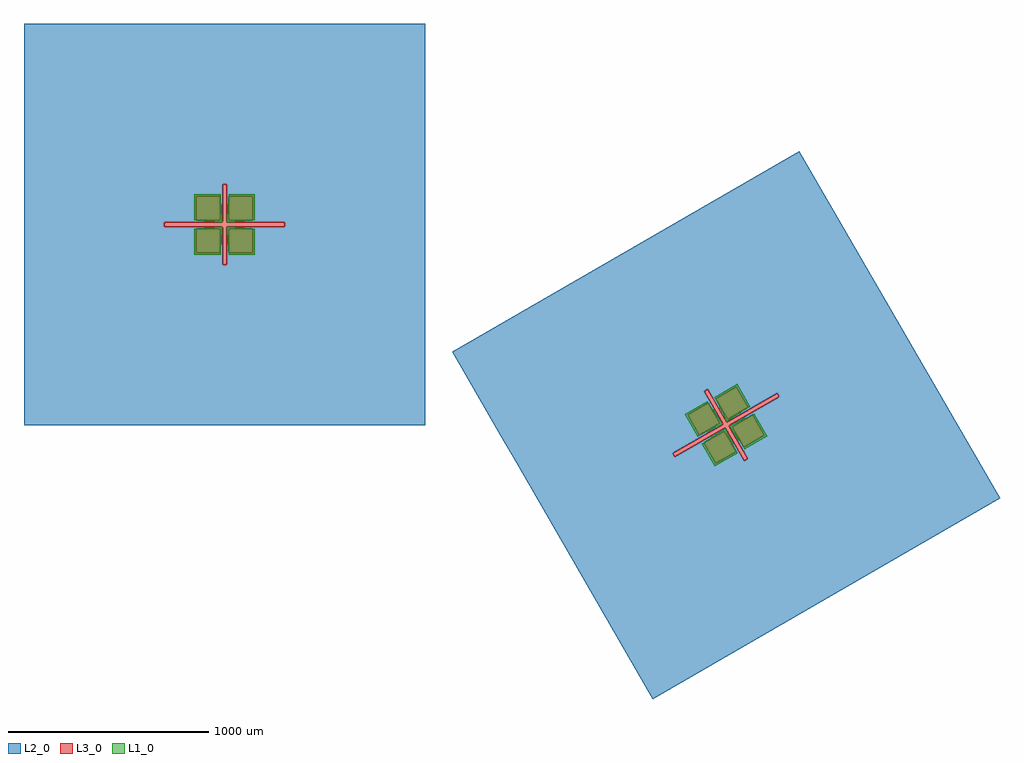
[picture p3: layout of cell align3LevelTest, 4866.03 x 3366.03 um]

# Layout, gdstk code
import gdstk
lib = gdstk.Library(unit=1e-6, precision=1e-09)
def R(c, l, rs):  # rectangles x0, y0, x1, y1
    for r in rs: c.add(gdstk.rectangle(r[:2], r[2:], *l))
def P(c, l, *ps):  # polygons
    for p in ps: c.add(gdstk.Polygon(p, *l))
L1_0 = (1, 0)
L2_0 = (2, 0)
L3_0 = (3, 0)

align3leveltest = lib.new_cell('align3LevelTest')
P(align3leveltest, L1_0, [(-150,-150),(-150,-20),(-100,-20),(-100,-15),(-50,-15),(-50,-12),(-12,-12),(-12,-50),(-15,-50),(-15,-100),(-20,-100),(-20,-150)],
  [(20,-150),(20,-100),(15,-100),(15,-50),(12,-50),(12,-12),(50,-12),(50,-15),(100,-15),(100,-20),(150,-20),(150,-150)],
  [(-50,12),(-50,15),(-100,15),(-100,20),(-150,20),(-150,150),(-20,150),(-20,100),(-15,100),(-15,50),(-12,50),(-12,12)],
  [(12,12),(12,50),(15,50),(15,100),(20,100),(20,150),(150,150),(150,20),(100,20),(100,15),(50,15),(50,12)],
  [(2445.096,-1204.904),(2380.096,-1092.321),(2423.397,-1067.321),(2420.897,-1062.99),(2464.199,-1037.99),(2462.699,-1035.392),(2495.608,-1016.392),(2514.608,-1049.301),(2512.01,-1050.801),(2537.01,-1094.103),(2532.679,-1096.603),(2557.679,-1139.904)],
  [(2592.321,-1119.904),(2567.321,-1076.603),(2562.99,-1079.103),(2537.99,-1035.801),(2535.392,-1037.301),(2516.392,-1004.392),(2549.301,-985.392),(2550.801,-987.99),(2594.103,-962.99),(2596.603,-967.32),(2639.904,-942.32),(2704.904,-1054.904)],
  [(2360.096,-1057.679),(2295.096,-945.096),(2407.679,-880.096),(2432.679,-923.397),(2437.01,-920.897),(2462.01,-964.199),(2464.608,-962.699),(2483.608,-995.608),(2450.699,-1014.608),(2449.199,-1012.01),(2405.897,-1037.01),(2403.397,-1032.679)],
  [(2504.392,-983.608),(2485.392,-950.699),(2487.99,-949.199),(2462.99,-905.897),(2467.321,-903.397),(2442.321,-860.096),(2554.904,-795.096),(2619.904,-907.68),(2576.603,-932.68),(2579.103,-937.01),(2535.801,-962.01),(2537.301,-964.608)])
P(align3leveltest, L2_0, [(-1000,-1000),(-1000,-200),(10,-200),(10,-140),(140,-140),(140,-22),(22,-22),(22,-140),(10,-140),(10,-10),(300,-10),(300,10),(10,10),(10,22),(140,22),(140,140),(22,140),(22,22),(10,22),(10,200),(-10,200),(-10,10),(-300,10),(-300,-10),(-10,-10),(-10,-200),(-1000,-200),(-1000,-140),(-22,-140),(-22,-22),(-140,-22),(-140,-140),(-1000,-140),(-1000,22),(-22,22),(-22,140),(-140,140),(-140,22),(-1000,22),(-1000,1000),(1000,1000),(1000,-1000)],
  [(2133.975,-2366.025),(1455.714,-1191.244),(2448.756,-1191.244),(2471.34,-1178.205),(2591.34,-1178.205),(2608.66,-1168.205),(2575.196,-1110.244),(2589.052,-1110.244),(2691.244,-1051.244),(2632.244,-949.053),(2530.052,-1008.053),(2589.052,-1110.244),(2575.196,-1110.244),(2513.66,-1003.66),(2764.808,-858.66),(2754.808,-841.34),(2503.66,-986.34),(2494.196,-969.947),(2508.052,-969.947),(2610.244,-910.947),(2551.244,-808.756),(2449.052,-867.756),(2508.052,-969.947),(2494.196,-969.947),(2408.66,-821.795),(2391.34,-831.795),(2486.34,-996.34),(2235.192,-1141.34),(2245.192,-1158.66),(2496.34,-1013.66),(2591.34,-1178.205),(2471.34,-1178.205),(2550.948,-1132.244),(2491.948,-1030.053),(2389.756,-1089.053),(2448.756,-1191.244),(1455.714,-1191.244),(1374.714,-1050.947),(2367.756,-1050.947),(2469.948,-991.947),(2410.948,-889.756),(2308.756,-948.756),(2367.756,-1050.947),(1374.714,-1050.947),(1133.975,-633.975),(2866.025,366.025),(3866.025,-1366.025)])
R(align3leveltest, L3_0, [(-140,-140,-22,-22), (22,-140,140,-22), (-140,22,-22,140), (22,22,140,140)])
P(align3leveltest, L3_0, [(-10,-200),(-10,-10),(-300,-10),(-300,10),(-10,10),(-10,200),(10,200),(10,10),(300,10),(300,-10),(10,-10),(10,-200)],
  [(2448.756,-1191.244),(2389.756,-1089.053),(2491.948,-1030.053),(2550.948,-1132.244)],
  [(2589.052,-1110.244),(2530.052,-1008.053),(2632.244,-949.053),(2691.244,-1051.244)],
  [(2367.756,-1050.947),(2308.756,-948.756),(2410.948,-889.756),(2469.948,-991.947)],
  [(2591.34,-1178.205),(2496.34,-1013.66),(2245.192,-1158.66),(2235.192,-1141.34),(2486.34,-996.34),(2391.34,-831.795),(2408.66,-821.795),(2503.66,-986.34),(2754.808,-841.34),(2764.808,-858.66),(2513.66,-1003.66),(2608.66,-1168.205)],
  [(2508.052,-969.947),(2449.052,-867.756),(2551.244,-808.756),(2610.244,-910.947)])

lib.write_gds('align3LevelTest.gds')
